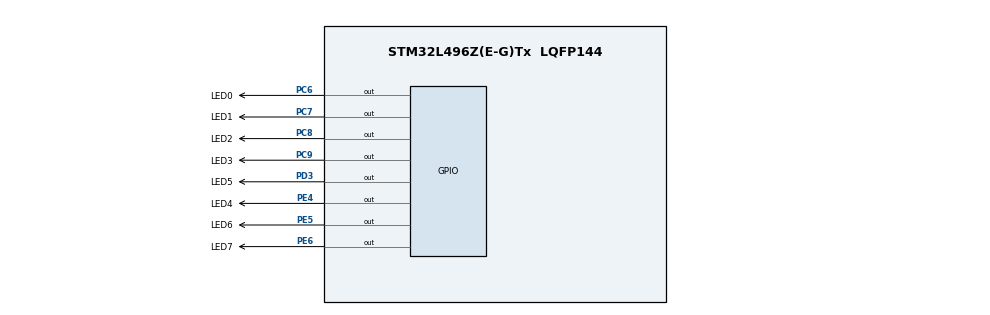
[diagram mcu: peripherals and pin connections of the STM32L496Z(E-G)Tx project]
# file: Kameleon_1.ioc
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Mcu.Family=STM32L4
Mcu.Name=STM32L496Z(E-G)Tx
Mcu.Package=LQFP144
NVIC.PriorityGroup=NVIC_PRIORITYGROUP_4
PC6.GPIO_Label=LED0
PC6.Signal=GPIO_Output
PC7.GPIO_Label=LED1
PC7.Signal=GPIO_Output
PC8.GPIO_Label=LED2
PC8.Signal=GPIO_Output
PC9.GPIO_Label=LED3
PC9.Signal=GPIO_Output
PD3.GPIO_Label=LED5
PD3.Signal=GPIO_Output
PE4.GPIO_Label=LED4
PE4.Signal=GPIO_Output
PE5.GPIO_Label=LED6
PE5.Signal=GPIO_Output
PE6.GPIO_Label=LED7
PE6.Signal=GPIO_Output
ProjectManager.HeapSize=0x200
ProjectManager.StackSize=0x400
ProjectManager.TargetToolchain=STM32CubeIDE
RCC.HSE_VALUE=8000000
RCC.HSI48_VALUE=48000000
RCC.HSI_VALUE=16000000
RCC.LSE_VALUE=32768
RCC.MSI_VALUE=4000000
RCC.VCOOutputFreq_Value=32000000
board=custom

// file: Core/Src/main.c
/* USER CODE BEGIN Header */
/**
 ******************************************************************************
 * @file           : main.c
 * @brief          : Main program body
 ******************************************************************************
 * @attention
 *
 * <h2><center>&copy; Copyright (c) 2020 STMicroelectronics.
 * All rights reserved.</center></h2>
 *
 * This software component is licensed by ST under BSD 3-Clause license,
 * the "License"; You may not use this file except in compliance with the
 * License. You may obtain a copy of the License at:
 *                        opensource.org/licenses/BSD-3-Clause
 *
 ******************************************************************************
 */
/* USER CODE END Header */
#include "main.h"
#include "gpio.h"

void SystemClock_Config(void);

int main(void) {
	/* USER CODE BEGIN 1 */
   	_Bool direction = 0;
	/* USER CODE END 1 */

	/* MCU Configuration--------------------------------------------------------*/

	/* Reset of all peripherals, Initializes the Flash interface and the Systick. */
	HAL_Init();

	/* Configure the system clock */
	SystemClock_Config();

	/* Initialize all configured peripherals */
	MX_GPIO_Init();

	/* Infinite loop */
	/* USER CODE BEGIN WHILE */
	while (1) {
		if (direction == 1) {
			HAL_GPIO_WritePin(LED0_GPIO_Port, LED0_Pin, GPIO_PIN_SET);
			HAL_Delay(50);
			HAL_GPIO_WritePin(LED0_GPIO_Port, LED0_Pin, GPIO_PIN_RESET);
			HAL_GPIO_WritePin(LED1_GPIO_Port, LED1_Pin, GPIO_PIN_SET);
			HAL_Delay(50);
			HAL_GPIO_WritePin(LED1_GPIO_Port, LED1_Pin, GPIO_PIN_RESET);
			HAL_GPIO_WritePin(LED2_GPIO_Port, LED2_Pin, GPIO_PIN_SET);
			HAL_Delay(50);
			HAL_GPIO_WritePin(LED2_GPIO_Port, LED2_Pin, GPIO_PIN_RESET);
			HAL_GPIO_WritePin(LED3_GPIO_Port, LED3_Pin, GPIO_PIN_SET);
			HAL_Delay(50);
			HAL_GPIO_WritePin(LED3_GPIO_Port, LED3_Pin, GPIO_PIN_RESET);
			HAL_GPIO_WritePin(LED4_GPIO_Port, LED4_Pin, GPIO_PIN_SET);
			HAL_Delay(50);
			HAL_GPIO_WritePin(LED4_GPIO_Port, LED4_Pin, GPIO_PIN_RESET);
			HAL_GPIO_WritePin(LED5_GPIO_Port, LED5_Pin, GPIO_PIN_SET);
			HAL_Delay(50);
			HAL_GPIO_WritePin(LED5_GPIO_Port, LED5_Pin, GPIO_PIN_RESET);
			HAL_GPIO_WritePin(LED6_GPIO_Port, LED6_Pin, GPIO_PIN_SET);
			HAL_Delay(50);
			HAL_GPIO_WritePin(LED6_GPIO_Port, LED6_Pin, GPIO_PIN_RESET);
			HAL_GPIO_WritePin(LED7_GPIO_Port, LED7_Pin, GPIO_PIN_SET);
			HAL_Delay(50);
			HAL_GPIO_WritePin(LED7_GPIO_Port, LED7_Pin, GPIO_PIN_RESET);
			direction = !direction;
		}
		if (direction == 0) {
			HAL_GPIO_WritePin(LED7_GPIO_Port, LED7_Pin, GPIO_PIN_SET);
			HAL_Delay(50);
			HAL_GPIO_WritePin(LED7_GPIO_Port, LED7_Pin, GPIO_PIN_RESET);
			HAL_GPIO_WritePin(LED6_GPIO_Port, LED6_Pin, GPIO_PIN_SET);
			HAL_Delay(50);
			HAL_GPIO_WritePin(LED6_GPIO_Port, LED6_Pin, GPIO_PIN_RESET);
			HAL_GPIO_WritePin(LED5_GPIO_Port, LED5_Pin, GPIO_PIN_SET);
			HAL_Delay(50);
			HAL_GPIO_WritePin(LED5_GPIO_Port, LED5_Pin, GPIO_PIN_RESET);
			HAL_GPIO_WritePin(LED4_GPIO_Port, LED4_Pin, GPIO_PIN_SET);
			HAL_Delay(50);
			HAL_GPIO_WritePin(LED4_GPIO_Port, LED4_Pin, GPIO_PIN_RESET);
			HAL_GPIO_WritePin(LED3_GPIO_Port, LED3_Pin, GPIO_PIN_SET);
			HAL_Delay(50);
			HAL_GPIO_WritePin(LED3_GPIO_Port, LED3_Pin, GPIO_PIN_RESET);
			HAL_GPIO_WritePin(LED2_GPIO_Port, LED2_Pin, GPIO_PIN_SET);
			HAL_Delay(50);
			HAL_GPIO_WritePin(LED2_GPIO_Port, LED2_Pin, GPIO_PIN_RESET);
			HAL_GPIO_WritePin(LED1_GPIO_Port, LED1_Pin, GPIO_PIN_SET);
			HAL_Delay(50);
			HAL_GPIO_WritePin(LED1_GPIO_Port, LED1_Pin, GPIO_PIN_RESET);
			HAL_GPIO_WritePin(LED0_GPIO_Port, LED0_Pin, GPIO_PIN_SET);
			HAL_Delay(50);
			HAL_GPIO_WritePin(LED0_GPIO_Port, LED0_Pin, GPIO_PIN_RESET);
			direction = !direction;
		}
		/* USER CODE END WHILE */

	}
}

void SystemClock_Config(void) {
	RCC_OscInitTypeDef RCC_OscInitStruct = { 0 };
	RCC_ClkInitTypeDef RCC_ClkInitStruct = { 0 };

	/** Initializes the RCC Oscillators according to the specified parameters
	 * in the RCC_OscInitTypeDef structure.
	 */
	RCC_OscInitStruct.OscillatorType = RCC_OSCILLATORTYPE_MSI;
	RCC_OscInitStruct.MSIState = RCC_MSI_ON;
	RCC_OscInitStruct.MSICalibrationValue = 0;
	RCC_OscInitStruct.MSIClockRange = RCC_MSIRANGE_6;
	RCC_OscInitStruct.PLL.PLLState = RCC_PLL_NONE;
	if (HAL_RCC_OscConfig(&RCC_OscInitStruct) != HAL_OK) {
		Error_Handler();
	}
	/** Initializes the CPU, AHB and APB buses clocks
	 */
	RCC_ClkInitStruct.ClockType = RCC_CLOCKTYPE_HCLK | RCC_CLOCKTYPE_SYSCLK
			| RCC_CLOCKTYPE_PCLK1 | RCC_CLOCKTYPE_PCLK2;
	RCC_ClkInitStruct.SYSCLKSource = RCC_SYSCLKSOURCE_MSI;
	RCC_ClkInitStruct.AHBCLKDivider = RCC_SYSCLK_DIV1;
	RCC_ClkInitStruct.APB1CLKDivider = RCC_HCLK_DIV1;
	RCC_ClkInitStruct.APB2CLKDivider = RCC_HCLK_DIV1;

	if (HAL_RCC_ClockConfig(&RCC_ClkInitStruct, FLASH_LATENCY_0) != HAL_OK) {
		Error_Handler();
	}
	/** Configure the main internal regulator output voltage
	 */
	if (HAL_PWREx_ControlVoltageScaling(PWR_REGULATOR_VOLTAGE_SCALE1)
			!= HAL_OK) {
		Error_Handler();
	}
}

void Error_Handler(void) {
}

/************************ (C) COPYRIGHT STMicroelectronics *****END OF FILE****/
